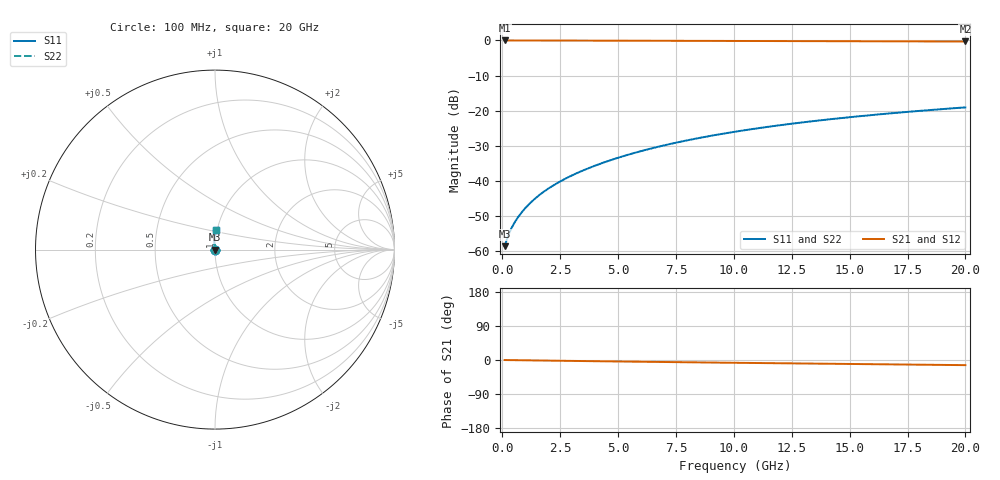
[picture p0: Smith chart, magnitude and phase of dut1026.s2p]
! Touchstone file exported from HFSS 2024.1.0
!  File:  C:/UserFiles/LocalFiles/RDL_TSV_Batchsim/temp_RDL_top_1026_1780043393.aedt
!  Generated:  04:32:32 PM May 29, 2026
!  Design:  RDL_top
!  Project:  temp_RDL_top_1026_1780043393
!  Setup:  Setup1
!  Solution:  Sweep
! Variables:
!  dtsv = 10.80580581um
!  hbump = 3um
!  htsv = 71.22um
!  ldown = 100um
!  lrdl = 200.44um
!  p = 40
!  p1 = 42.79um
!  rhole = 1um
!  t = 450um
!  tdown = 3.915915916um
!  trdl = 3.21um
!  wdown = 15.38538539um
!  wrdl = 28.3um
# GHz S MA R 50.000000
! Terminal data exported
! Port[1] = Box2_T1
! Port[2] = Box2_T2
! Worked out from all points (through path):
!   200 points, 100 MHz to 20 GHz, reference 50 ohm
!   highest |S21| = -0.01 dB at 100 MHz (marker M1); lowest = -0.3 dB at 20 GHz (marker M2)
!   group delay of S21, straight-line fit = 1.85 ps
!   lowest |S11| = -58.6 dB at 100 MHz (marker M3), VSWR 1.00, Z = 50.1 + j0.0492 ohm
!   |S11| at or under -10 dB: start of sweep to end of sweep
!   |S22| runs from -58.6 to -19.1 dB; largest |S21 - S12| = 2e-15
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0.1  0.001177 24.6  0.9989 -0.1  0.9989 -0.1  0.001177 24.6
! Gamma 0 0 0 0
! Port Impedance 50 0 50 0
0.2  0.001476 39.6  0.9988 -0.2  0.9988 -0.2  0.001476 39.6
0.3  0.001807 48.1  0.9987 -0.3  0.9987 -0.3  0.001807 48.1
0.4  0.002133 53.9  0.9987 -0.3  0.9987 -0.3  0.002133 53.9
0.5  0.002454 58.4  0.9986 -0.4  0.9986 -0.4  0.002454 58.4
0.8  0.003434 67.9  0.9984 -0.7  0.9984 -0.7  0.003434 67.9
1  0.004115 72.3  0.9982 -0.8  0.9982 -0.8  0.004115 72.3
1.2  0.004819 75.8  0.9981 -1.0  0.9981 -1.0  0.004819 75.8
1.7  0.006661 81.8  0.9976 -1.4  0.9976 -1.4  0.006661 81.8
2.2  0.008608 85.8  0.9971 -1.8  0.9971 -1.8  0.008608 85.8
2.8  0.01108 89.1  0.9962 -2.3  0.9962 -2.3  0.01108 89.1
3.5  0.01414 91.8  0.9951 -2.8  0.9951 -2.8  0.01414 91.8
4.2  0.0174 93.7  0.9938 -3.3  0.9938 -3.3  0.0174 93.7
5  0.02135 95.1  0.9922 -3.9  0.9922 -3.9  0.02135 95.1
5.9  0.02606 95.9  0.9902 -4.6  0.9902 -4.6  0.02606 95.9
6.8  0.031 96.3  0.9883 -5.2  0.9883 -5.2  0.031 96.3
8.4  0.04023 96.0  0.9848 -6.3  0.9848 -6.3  0.04023 96.0
10.1  0.05045 95.0  0.9813 -7.4  0.9813 -7.4  0.05044 95.0
11.7  0.06026 93.7  0.9783 -8.4  0.9783 -8.4  0.06026 93.7
13.4  0.07078 92.2  0.9753 -9.5  0.9753 -9.5  0.07078 92.2
16.7  0.09119 89.1  0.9701 -11.6  0.9701 -11.6  0.09119 89.1
20  0.1113 86.0  0.9654 -13.6  0.9654 -13.6  0.1113 86.0
